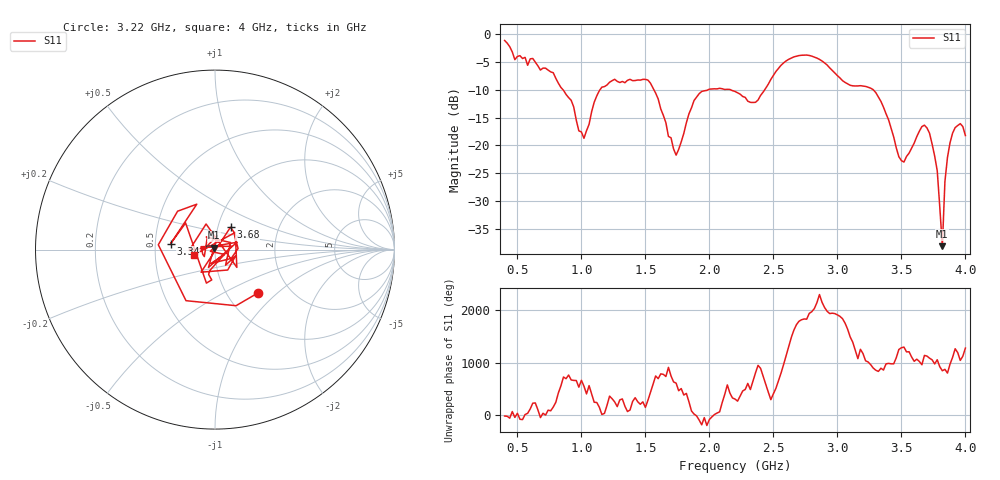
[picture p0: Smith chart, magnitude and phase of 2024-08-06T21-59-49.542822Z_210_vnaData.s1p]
!Created with skrf (http://scikit-rf.org).
# Hz S RI R 50.0
!freq ReS11 ImS11
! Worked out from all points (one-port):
!   181 points, 400 MHz to 4 GHz, reference 50 ohm
!   lowest |S11| = -38.1 dB at 3.82 GHz (marker M1), VSWR 1.03, Z = 49.3 + j1.02 ohm
!   |S11| at or under -10 dB: 856.8 MHz to 1.145 GHz (288 MHz wide, 28.8 % of centre); 1.567 GHz to 1.989 GHz (422 MHz wide, 23.7 % of centre); 3.281 GHz to end of sweep (the widest 3 of 4)
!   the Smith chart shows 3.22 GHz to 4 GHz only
!   S11 on the Smith chart (normalised r, x): 3.22 GHz: 1.38, -0.76; 3.34 GHz: 0.60, +0.04; 3.68 GHz: 1.15, +0.29; 4 GHz: 0.79, -0.05
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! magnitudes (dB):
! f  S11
! 400 MHz  -1.1
! 480 MHz  -4.6
! 620 MHz  -4.4
! 860 MHz  -10.1
! 1.02 GHz  -18.7
! 1.14 GHz  -10.2
! 1.3 GHz  -8.7
! 1.52 GHz  -8.3
! 1.74 GHz  -21.7
! 1.76 GHz  -20.7
! 1.92 GHz  -10.7
! 2.2 GHz  -10.3
! 2.36 GHz  -12.2
! 2.66 GHz  -4.1
! 2.86 GHz  -4.5
! 3.1 GHz  -9.2
! 3.22 GHz  -9.4
! 3.34 GHz  -12.1
! 3.48 GHz  -22.0
! 3.56 GHz  -21.4
! 3.68 GHz  -16.4
! 3.72 GHz  -17.8
! 3.78 GHz  -24.5
! 3.82 GHz  -38.1
! 3.84 GHz  -26.5
! 3.88 GHz  -19.5
! 3.96 GHz  -16.1
! 4 GHz  -18.2
